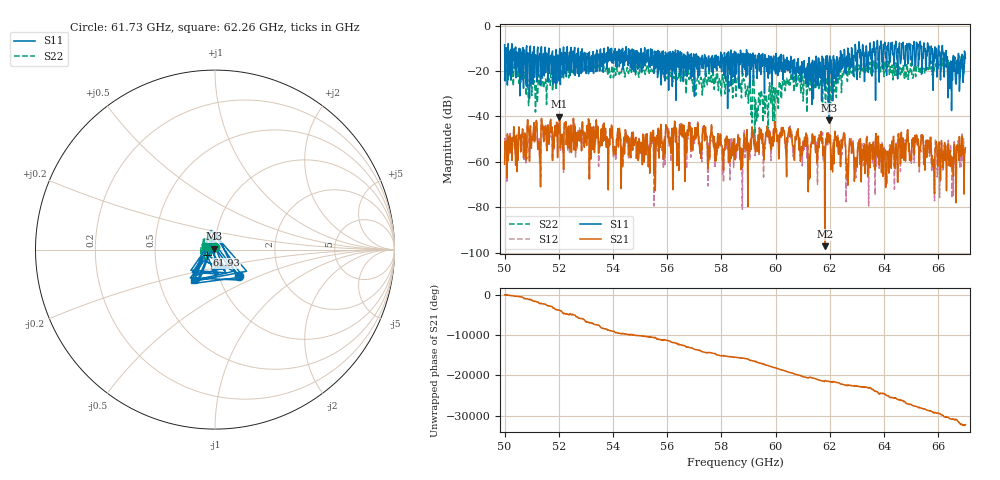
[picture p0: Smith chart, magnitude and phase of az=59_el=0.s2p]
!Created with skrf (http://scikit-rf.org).
# GHz S RI R 50.0
!freq ReS11 ImS11 ReS21 ImS21 ReS12 ImS12 ReS22 ImS22
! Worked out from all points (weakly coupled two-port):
!   1001 points, 50 GHz to 67 GHz, reference 50 ohm
!   highest |S21| = -40.15 dB at 52.02 GHz (marker M1); lowest = -97.1 dB at 61.81 GHz (marker M2)
!   lowest |S11| = -41.7 dB at 61.97 GHz (marker M3), VSWR 1.02, Z = 49.4 + j0.575 ohm
!   |S11| at or under -10 dB: 52.72 GHz to 53.81 GHz (1.086 GHz wide, 2.04 % of centre); 55.17 GHz to 62.66 GHz (7.496 GHz wide, 12.7 % of centre); 66.16 GHz to end of sweep (the widest 3 of 58)
!   |S22| runs from -53.4 to -13.4 dB; largest |S21 - S12| = 0.0025
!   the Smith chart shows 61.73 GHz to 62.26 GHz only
!   S11 on the Smith chart (normalised r, x): 61.73 GHz: 1.25, -0.39; 61.93 GHz: 0.91, -0.05; 62.26 GHz: 0.75, -0.27
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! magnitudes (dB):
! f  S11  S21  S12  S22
! 50 GHz  -8.5  -61.0  -58.7  -24.1
! 51.16 GHz  -15.6  -44.2  -44.6  -29.2
! 52.02 GHz  -11.3  -40.1  -40.2  -23.6
! 52.84 GHz  -12.6  -55.2  -54.5  -20.4
! 54.35 GHz  -10.0  -62.1  -61.4  -18.7
! 55.68 GHz  -13.5  -45.2  -45.5  -21.2
! 58.5 GHz  -25.2  -59.1  -55.4  -23.4
! 59.3 GHz  -15.0  -51.6  -52.7  -42.0
! 61.34 GHz  -34.7  -50.9  -48.9  -26.7
! 61.73 GHz  -13.9  -49.5  -47.0  -36.1
! 61.81 GHz  -17.9  -97.1  -62.6  -26.1
! 61.93 GHz  -25.4  -50.0  -51.3  -38.1
! 61.97 GHz  -41.7  -48.2  -49.2  -22.6
! 62.26 GHz  -13.7  -49.8  -51.9  -24.2
! 62.65 GHz  -18.2  -61.0  -60.5  -24.6
! 62.78 GHz  -18.3  -51.2  -49.2  -20.4
! 62.95 GHz  -10.5  -60.5  -67.1  -17.5
! 64.18 GHz  -12.1  -65.0  -59.7  -17.5
! 65.13 GHz  -14.4  -51.7  -52.8  -17.0
! 66.08 GHz  -23.9  -68.1  -63.5  -15.9
! 66.44 GHz  -27.8  -54.9  -55.0  -16.4
! 67 GHz  -14.4  -53.8  -55.5  -14.1
